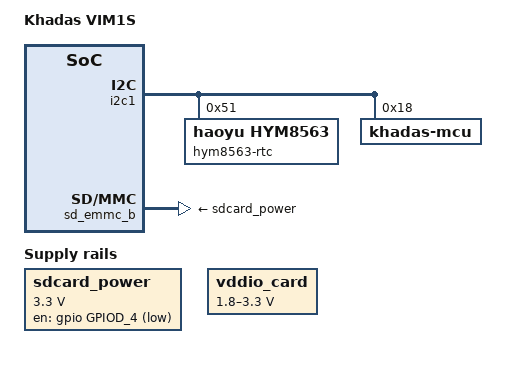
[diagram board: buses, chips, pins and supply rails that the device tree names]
#include "s4_s905y4_ap222_drm.dts"
#include "coreelec_s4_common.dtsi"

/ {
	model = "Khadas VIM1S";
	coreelec-dt-id = "s4_s905y4_khadas_vim1s";

	gpio_keypad {
		key_num = <1>;
		key_name = "power";
		key_code = <KEY_POWER>;
		key_type = <EV_KEY>;
		key-gpios = <&gpio GPIOD_8 GPIO_ACTIVE_LOW>;
	};

	gpioleds {
		sys_led {
			gpios = <&gpio GPIOD_11 GPIO_ACTIVE_HIGH>;
		};
	};

	sdcard_power: regulator-sdcard {
		compatible = "regulator-fixed";
		regulator-name = "SDCARD_POWER";
		regulator-min-microvolt = <3300000>;
		regulator-max-microvolt = <3300000>;
		gpio = <&gpio GPIOD_4 GPIO_ACTIVE_LOW>;
		enable-active-low;
		regulator-always-on;
	};

	vddio_card: gpio-regulator {
		compatible = "regulator-gpio";
		regulator-name = "VDDIO_CARD";
		regulator-min-microvolt = <1800000>;
		regulator-max-microvolt = <3300000>;
		gpios = <&gpio GPIOD_9 GPIO_ACTIVE_HIGH>;
		gpios-states = <1>;
		states = <1800000 1 3300000 0>;
	};

	onewire: onewire {
		compatible = "w1-gpio";
		gpios = <&gpio GPIOZ_8 GPIO_ACTIVE_HIGH>;
		status = "disabled";
	};
};

&i2c1 {
	hym8563-rtc@51 {
		compatible = "haoyu,hym8563";
		reg = <0x51>;
	};

	khadas-mcu@18 {
		compatible = "khadas-mcu";
		reg = <0x18>;
		fan,trig_temp_level0 = <50>;
		fan,trig_temp_level1 = <60>;
		fan,trig_temp_level2 = <70>;
		fan,trig_temp_level3 = <80>;
		hwver = "VIM1S.V10"; /* Will be updated in uboot. */
	};
};

&vrtc {
	status = "disabled";
};

&i2c4 {
	status = "disabled";
};

&aml_bt {
	power_down_disable = <1>;
};

&sd_emmc_b {
	vmmc-supply = <&sdcard_power>;
	vqmmc-supply = <&vddio_card>;
};

&dwc2_a {
	/** 0: normal, 1: otg+dwc3 host only, 2: otg+dwc3 device only*/
	controller-type = <2>;
};

&periphs_pinctrl {
	spdifout: spdifout {
		mux { /* GPIOH_4 */
			groups = "spdif_out_h";
		};
	};

	spdifout_a_mute: spdifout_a_mute {
		mux { /* GPIOZ_9 */
			groups = "GPIOZ_9";
			function = "gpio_periphs";
			output-low;
		};
	};
};
